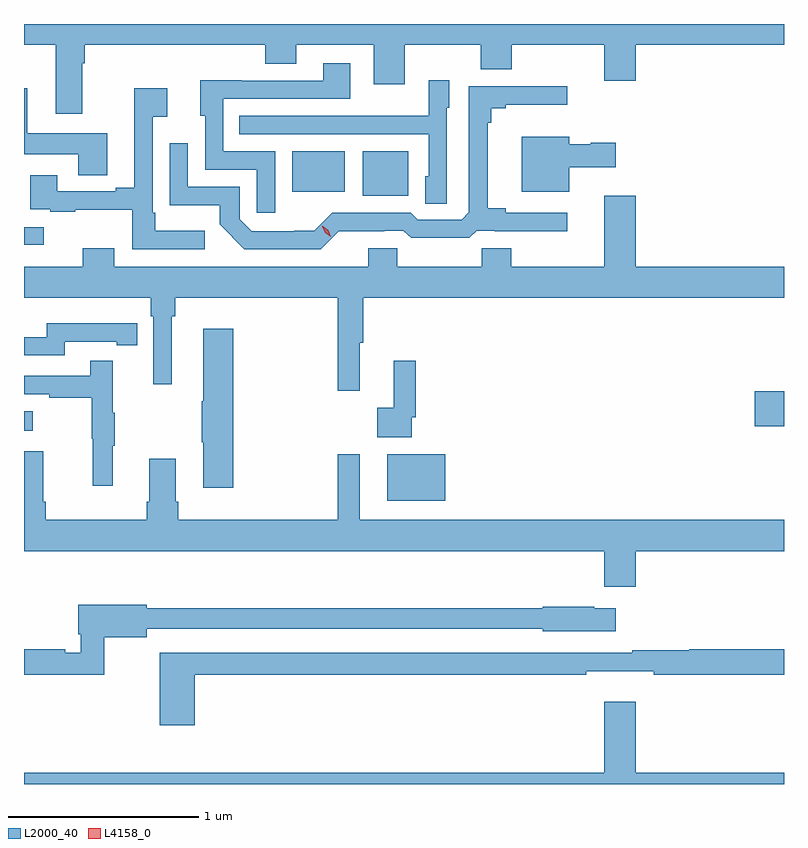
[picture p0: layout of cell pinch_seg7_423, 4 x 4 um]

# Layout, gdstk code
import gdstk
lib = gdstk.Library(unit=1e-6, precision=1e-09)
def R(c, l, rs):  # rectangles x0, y0, x1, y1
    for r in rs: c.add(gdstk.rectangle(r[:2], r[2:], *l))
def P(c, l, *ps):  # polygons
    for p in ps: c.add(gdstk.Polygon(p, *l))
L2000_40 = (2000, 40)
L4158_0 = (4158, 0)

pinch_seg7_423 = lib.new_cell('pinch_seg7_423')
R(pinch_seg7_423, L2000_40, [(331.697,1046.168,332.002,1046.413), (329.785,1046.537,329.83,1046.641), (333.63,1046.561,333.785,1046.744), (329.785,1047.515,329.89,1047.609), (331.568,1047.773,331.807,1048.009), (331.196,1047.794,331.474,1048.009)])
P(pinch_seg7_423, L2000_40, [(330.091,1048.472),(330.104,1048.472),(330.104,1048.568),(331.055,1048.568),(331.055,1048.469),(331.219,1048.469),(331.219,1048.568),(331.625,1048.568),(331.625,1048.362),(331.789,1048.362),(331.789,1048.568),(332.189,1048.568),(332.189,1048.44),(332.353,1048.44),(332.353,1048.568),(332.84,1048.568),(332.84,1048.38),(333.004,1048.38),(333.004,1048.568),(333.785,1048.568),(333.785,1048.678),(329.785,1048.678),(329.785,1048.568),(329.951,1048.568),(329.951,1048.206),(330.091,1048.206)],
  [(331.107,1048.008),(330.834,1048.008),(330.834,1048.284),(331.501,1048.284),(331.501,1048.471),(331.361,1048.471),(331.361,1048.38),(330.931,1048.38),(330.931,1048.382),(330.713,1048.382),(330.713,1048.194),(330.738,1048.194),(330.738,1047.912),(331.011,1047.912),(331.011,1047.684),(331.107,1047.684)],
  [(332.01,1048.236),(332.023,1048.236),(332.023,1048.381),(331.914,1048.381),(331.914,1048.195),(331.597,1048.195),(331.597,1048.194),(330.919,1048.194),(330.919,1048.098),(331.914,1048.098),(331.914,1047.876),(331.898,1047.876),(331.898,1047.733),(332.01,1047.733)],
  [(331.442,1047.587),(331.682,1047.587),(331.682,1047.591),(331.782,1047.591),(331.822,1047.552),(332.129,1047.552),(332.169,1047.591),(332.263,1047.591),(332.263,1047.587),(332.644,1047.587),(332.644,1047.684),(332.32,1047.684),(332.32,1047.707),(332.225,1047.707),(332.225,1048.157),(332.243,1048.157),(332.243,1048.234),(332.32,1048.234),(332.32,1048.253),(332.644,1048.253),(332.644,1048.35),(332.127,1048.35),(332.127,1047.687),(332.088,1047.648),(331.857,1047.648),(331.821,1047.684),(331.407,1047.684),(331.313,1047.59),(331.208,1047.59),(331.208,1047.588),(330.984,1047.588),(330.921,1047.651),(330.921,1047.822),(330.648,1047.822),(330.648,1048.051),(330.552,1048.051),(330.552,1047.725),(330.814,1047.725),(330.814,1047.623),(330.944,1047.492),(331.347,1047.492)],
  [(330.736,1047.589),(330.475,1047.589),(330.475,1047.685),(330.462,1047.685),(330.462,1048.19),(330.538,1048.19),(330.538,1048.339),(330.365,1048.339),(330.365,1047.817),(330.269,1047.817),(330.269,1047.798),(329.959,1047.798),(329.959,1047.883),(329.819,1047.883),(329.819,1047.702),(329.923,1047.702),(329.923,1047.69),(330.055,1047.69),(330.055,1047.701),(330.354,1047.701),(330.354,1047.492),(330.736,1047.492)],
  [(330.223,1048.102),(329.803,1048.102),(329.803,1048.339),(329.785,1048.339),(329.785,1047.992),(330.071,1047.992),(330.071,1047.883),(330.223,1047.883)],
  [(332.656,1047.923),(332.899,1047.923),(332.899,1048.053),(332.769,1048.053),(332.769,1048.045),(332.656,1048.045),(332.656,1048.084),(332.405,1048.084),(332.405,1047.794),(332.656,1047.794)],
  [(331.553,1047),(331.571,1047),(331.571,1047.236),(333.785,1047.236),(333.785,1047.4),(333.004,1047.4),(333.004,1047.775),(332.84,1047.775),(332.84,1047.4),(332.349,1047.4),(332.349,1047.498),(332.194,1047.498),(332.194,1047.4),(331.749,1047.4),(331.749,1047.498),(331.598,1047.498),(331.598,1047.4),(330.259,1047.4),(330.259,1047.499),(330.095,1047.499),(330.095,1047.4),(329.785,1047.4),(329.785,1047.236),(330.452,1047.236),(330.452,1047.14),(330.465,1047.14),(330.465,1046.781),(330.562,1046.781),(330.562,1047.14),(330.581,1047.14),(330.581,1047.236),(331.435,1047.236),(331.435,1046.748),(331.553,1046.748)],
  [(330,1047.006),(330.272,1047.006),(330.272,1046.986),(330.38,1046.986),(330.38,1047.102),(330.272,1047.102),(330.272,1047.103),(329.904,1047.103),(329.904,1047.03),(329.785,1047.03),(329.785,1046.934),(330,1046.934)],
  [(330.887,1047.073),(330.728,1047.073),(330.728,1046.693),(330.721,1046.693),(330.721,1046.476),(330.728,1046.476),(330.728,1046.238),(330.887,1046.238)],
  [(330.251,1046.459),(330.262,1046.459),(330.262,1046.633),(330.251,1046.633),(330.251,1046.905),(330.133,1046.905),(330.133,1046.826),(329.785,1046.826),(329.785,1046.73),(329.917,1046.73),(329.917,1046.71),(330.141,1046.71),(330.141,1046.496),(330.148,1046.496),(330.148,1046.247),(330.251,1046.247)],
  [(331.827,1046.608),(331.847,1046.608),(331.847,1046.905),(331.73,1046.905),(331.73,1046.657),(331.644,1046.657),(331.644,1046.504),(331.827,1046.504)],
  [(331.435,1046.413),(331.435,1046.068),(330.596,1046.068),(330.596,1046.164),(330.583,1046.164),(330.583,1046.389),(330.443,1046.389),(330.443,1046.164),(330.431,1046.164),(330.431,1046.068),(329.9,1046.068),(329.9,1046.164),(329.887,1046.164),(329.887,1046.43),(329.785,1046.43),(329.785,1045.904),(332.84,1045.904),(332.84,1045.716),(333.004,1045.716),(333.004,1045.904),(333.785,1045.904),(333.785,1046.068),(331.552,1046.068),(331.552,1046.413)],
  [(330.208,1045.451),(330.43,1045.451),(330.43,1045.494),(332.514,1045.494),(332.514,1045.481),(332.899,1045.481),(332.899,1045.603),(332.786,1045.603),(332.786,1045.611),(332.514,1045.611),(332.514,1045.603),(330.43,1045.603),(330.43,1045.621),(330.071,1045.621),(330.071,1045.467),(330.083,1045.467),(330.083,1045.368),(330.002,1045.368),(330.002,1045.388),(329.785,1045.388),(329.785,1045.252),(330.208,1045.252)],
  [(330.683,1045.252),(332.744,1045.252),(332.744,1045.271),(333.1,1045.271),(333.1,1045.252),(333.785,1045.252),(333.785,1045.388),(333.286,1045.388),(333.286,1045.381),(332.986,1045.381),(332.986,1045.368),(330.5,1045.368),(330.5,1044.987),(330.683,1044.987)],
  [(333.785,1044.736),(333.004,1044.736),(333.004,1045.111),(332.84,1045.111),(332.84,1044.736),(329.785,1044.736),(329.785,1044.678),(333.785,1044.678)])
P(pinch_seg7_423, L4158_0, [(331.4,1047.559),(331.37,1047.58),(331.354,1047.614),(331.354,1047.615),(331.354,1047.615),(331.385,1047.593),(331.4,1047.559),(331.4,1047.559)])

lib.write_gds('pinch_seg7_423.gds')
